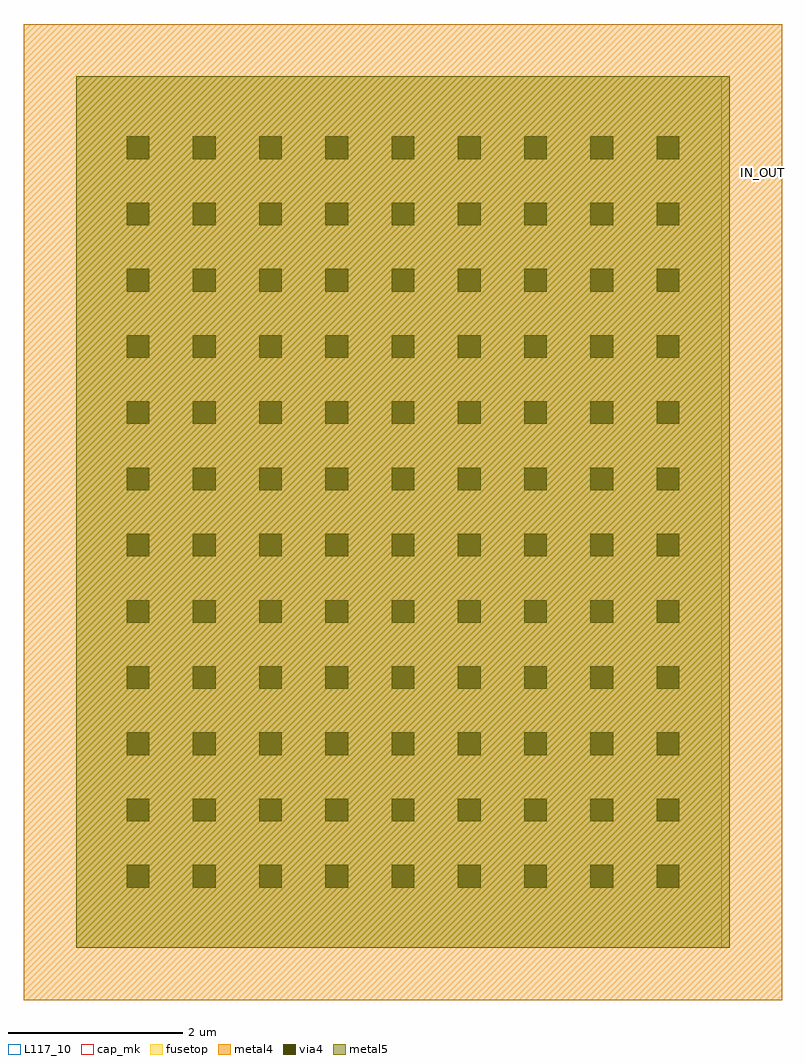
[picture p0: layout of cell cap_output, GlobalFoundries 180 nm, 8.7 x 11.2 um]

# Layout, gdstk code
from math import pi, radians
import gdstk
lib = gdstk.Library(unit=1e-6, precision=1e-09)
def R(c, l, rs):  # rectangles x0, y0, x1, y1
    for r in rs: c.add(gdstk.rectangle(r[:2], r[2:], *l))
def A(c, l, x, y, w, h, nx, ny, dx, dy):  # array of equal rectangles
    R(c, l, [(x+i*dx, y+j*dy, x+i*dx+w, y+j*dy+h) for i in range(nx) for j in range(ny)])
via4 = (41, 0)
metal4 = (46, 0)
fusetop = (75, 0)
metal5 = (81, 0)
cap_mk = (117, 5)
L117_10 = (117, 10)

cap_mim = lib.new_cell('cap_mim')
A(cap_mim, via4, 0.69, 0.58, 0.26, 0.26, 12, 9, 0.76, 0.76)
R(cap_mim, metal4, [(-0.6,-0.6,10.6,8.1)])
R(cap_mim, fusetop, [(0,0,10,7.5)])
R(cap_mim, metal5, [(0,0,10,7.5)])
R(cap_mim, cap_mk, [(-0.6,-0.6,10.6,8.1)])
R(cap_mim, L117_10, [(0,0,10,0.1)])

cap_output = lib.new_cell('cap_output')
r = gdstk.Reference(cap_mim, (7.65,3.805), rotation=pi/2); r.repetition = gdstk.Repetition(1, 1, v1=(0,0), v2=(0,0)); cap_output.add(r)
cap_output.add(gdstk.Label('GND', (10.055,11.64), layer=34, texttype=10))
cap_output.add(gdstk.Label('IN_OUT', (8.025,12.705), layer=34, texttype=10))

lib.write_gds('cap_output.gds')
